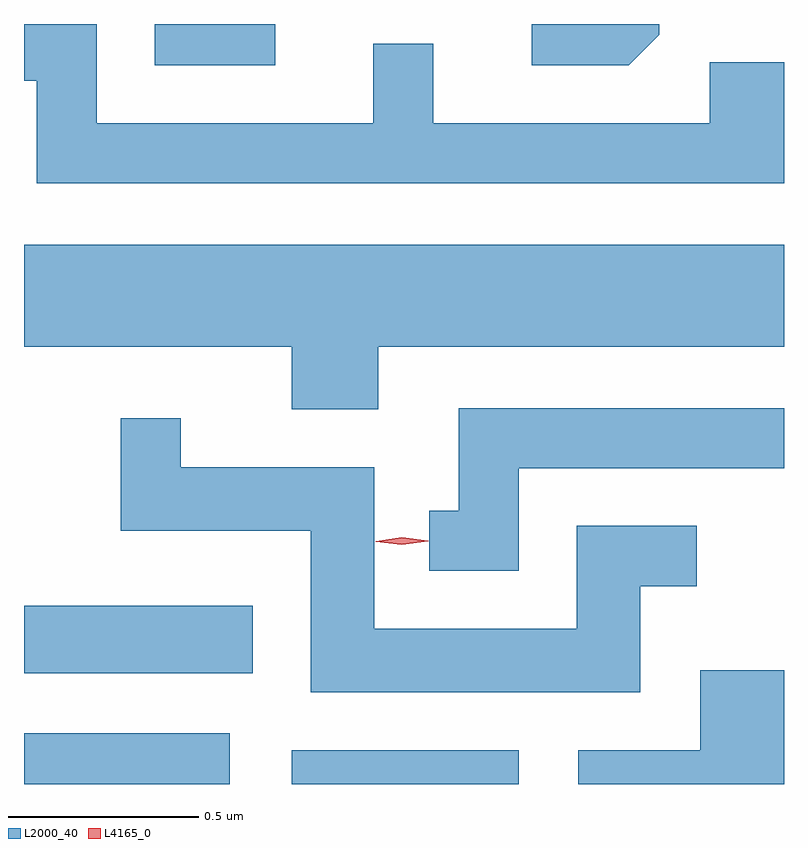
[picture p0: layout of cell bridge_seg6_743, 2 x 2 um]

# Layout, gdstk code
import gdstk
lib = gdstk.Library(unit=1e-6, precision=1e-09)
def R(c, l, rs):  # rectangles x0, y0, x1, y1
    for r in rs: c.add(gdstk.rectangle(r[:2], r[2:], *l))
def P(c, l, *ps):  # polygons
    for p in ps: c.add(gdstk.Polygon(p, *l))
L2000_40 = (2000, 40)
L4165_0 = (4165, 0)

bridge_seg6_743 = lib.new_cell('bridge_seg6_743')
R(bridge_seg6_743, L2000_40, [(308.527,1544.445,309.069,1544.579), (309.231,1544.445,309.829,1544.534), (308.527,1544.736,309.129,1544.914), (308.871,1546.336,309.188,1546.445)])
P(bridge_seg6_743, L2000_40, [(310.199,1546.417),(310.199,1546.445),(309.863,1546.445),(309.863,1546.336),(310.119,1546.336)],
  [(310.527,1546.344),(310.331,1546.344),(310.331,1546.184),(309.604,1546.184),(309.604,1546.393),(309.446,1546.393),(309.446,1546.184),(308.719,1546.184),(308.719,1546.445),(308.527,1546.445),(308.527,1546.296),(308.561,1546.296),(308.561,1546.026),(310.527,1546.026)],
  [(309.459,1545.596),(310.527,1545.596),(310.527,1545.864),(308.527,1545.864),(308.527,1545.596),(309.231,1545.596),(309.231,1545.431),(309.459,1545.431)],
  [(309.829,1545.276),(310.527,1545.276),(310.527,1545.434),(309.671,1545.434),(309.671,1545.164),(309.593,1545.164),(309.593,1545.006),(309.829,1545.006)],
  [(310.149,1544.966),(310.298,1544.966),(310.298,1545.124),(309.981,1545.124),(309.981,1544.854),(309.449,1544.854),(309.449,1545.279),(308.939,1545.279),(308.939,1545.408),(308.781,1545.408),(308.781,1545.111),(309.281,1545.111),(309.281,1544.686),(310.149,1544.686)],
  [(310.527,1544.744),(310.306,1544.744),(310.306,1544.534),(309.986,1544.534),(309.986,1544.445),(310.527,1544.445)])
P(bridge_seg6_743, L4165_0, [(309.521,1545.074),(309.452,1545.083),(309.452,1545.084),(309.452,1545.084),(309.521,1545.094),(309.591,1545.085),(309.591,1545.084),(309.591,1545.084)])

lib.write_gds('bridge_seg6_743.gds')
